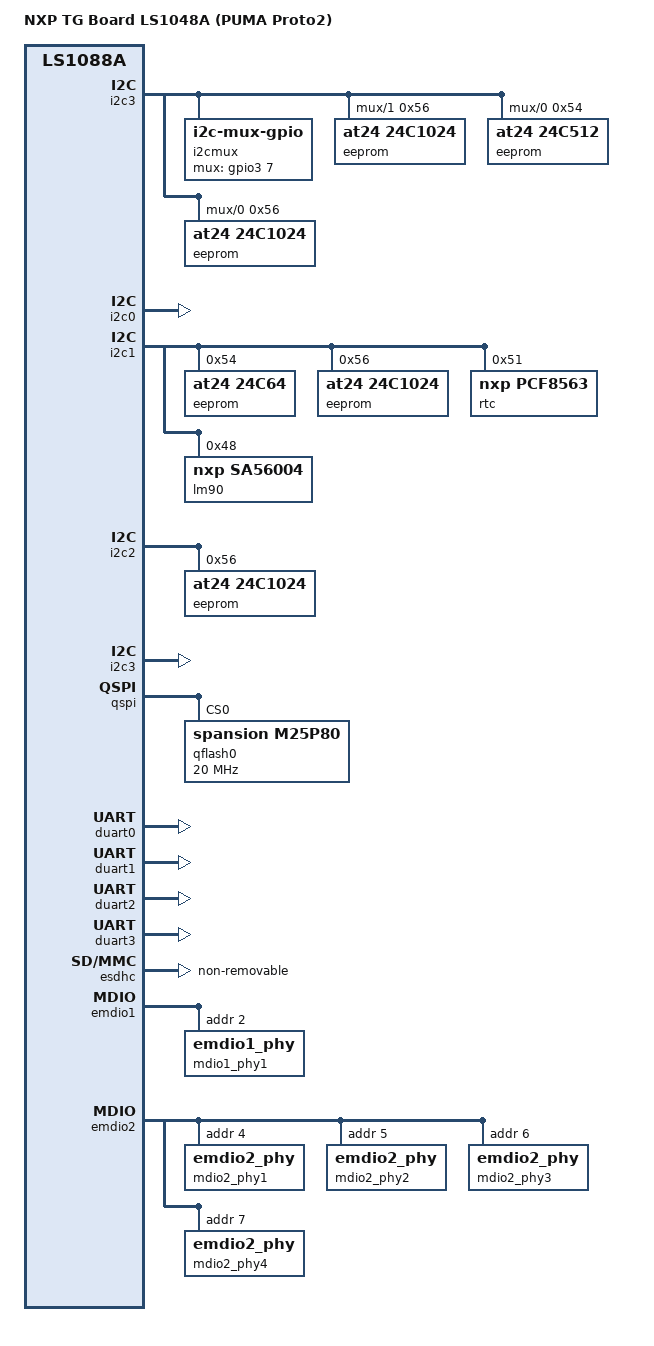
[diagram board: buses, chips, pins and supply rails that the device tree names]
/*
 * Device Tree file for FB LS1048A PUMA Proto 2 Board.
 */

/dts-v1/;

#include <dt-bindings/gpio/gpio.h>
#include "fsl-ls1048a.dtsi"

/ {
	model = "NXP TG Board LS1048A (PUMA Proto2)";
	compatible = "fsl,ls1088a-rdb", "fsl,ls1088a";

	chosen {
		bootargs = "iommu.passthrough=1 default_hugepagesz=2m hugepagesz=2m hugepages=512 pcie_aspm=off cma=512M crashkernel=32M@3G isolcpus=2,3 firmware_class.path=/data/firmware/wil6210 ";
		eeprom = "/sys/bus/nvmem/devices/1-00540/nvmem" ;
		bb1_eeprom = "/sys/bus/i2c/devices/1-0056/eeprom";
		bb2_eeprom = "/sys/bus/i2c/devices/2-0056/eeprom";
		bb3_eeprom = "/sys/bus/i2c/devices/4-0056/eeprom";
		bb4_eeprom = "/sys/bus/i2c/devices/5-0056/eeprom";
		wlan0_eeprom = "/sys/bus/i2c/devices/5-0056/eeprom";
		wlan1_eeprom = "/sys/bus/i2c/devices/2-0056/eeprom";
		wlan2_eeprom = "/sys/bus/i2c/devices/4-0056/eeprom";
		wlan3_eeprom = "/sys/bus/i2c/devices/1-0056/eeprom";
		wlan0_pci = "0000:01:00.0";
		wlan1_pci = "0001:01:00.0";
		wlan2_pci = "0002:03:00.0";
		wlan3_pci = "0002:04:00.0";
	};

	i2cmux {
		compatible = "i2c-mux-gpio";
		#address-cells = <1>;
		#size-cells = <0>;

		mux-gpios = <&gpio3 7 GPIO_ACTIVE_HIGH>;
		i2c-parent = <&i2c3>;

		i2c@1 {
			reg = <1>;
			#address-cells = <1>;
			#size-cells = <0>;

			eeprom@56 {
				compatible = "at24,24c1024";
				reg = <0x56>;
				pagesize = <256>;
			};
		};

		i2c@0 {
			reg = <0>;
			#address-cells = <1>;
			#size-cells = <0>;

			eeprom@54 {
				compatible = "at24,24c512";
				reg = <0x54>;
				pagesize = <128>;
			};

			eeprom@56 {
				compatible = "at24,24c1024";
				reg = <0x56>;
				pagesize = <256>;
			};
		};
	};
};

&i2c0 {
	status = "okay";
};

&i2c1 {
	status = "okay";

	eeprom@54 {
		compatible = "at24,24c64";
		reg = <0x54>;
		pagesize = <32>;
	};

	eeprom@56 {
		compatible = "at24,24c1024";
		reg = <0x56>;
		pagesize = <256>;
	};

	rtc@51 {
		compatible = "nxp,pcf8563";
		reg = <0x51>;
	};

	lm90: lm90@48 {
		compatible = "nxp,sa56004";
		reg = <0x48>;
	};

};

&i2c2 {
	status = "okay";

	eeprom@56 {
		compatible = "at24,24c1024";
		reg = <0x56>;
		pagesize = <256>;
	};
};

&i2c3 {
	status = "okay";
};

&qspi {
	status = "okay";
	qflash0: s25fs512s@0 {
		compatible = "spansion,m25p80";
		#address-cells = <1>;
		#size-cells = <1>;
		spi-max-frequency = <20000000>;
		spi-rx-bus-width = <1>;
		spi-tx-bus-width = <1>;
		reg = <0>;
	};
};

&ifc {
	status = "disabled";
};

&duart0 {
	status = "okay";
};

&duart1 {
	status = "okay";
};

&duart2 {
	status = "okay";
};

&duart3 {
	status = "okay";
};

&esdhc {
	status = "okay";
	non-removable;
};

&emdio1 {
	/* RealTek RTL8211FSI PHY
	 * PHY_AD[2:0] = 010: PHY Addr = 0b00010
	 * CFG_MODE[2:0]=011: SGMII <=> UTP
	 * CFG_LDO[1:0] = 10 : RGMII IO LDO voltage selection (1.8V)
	 * RXDLY = 0: No Delay
	 */
	mdio1_phy1: emdio1_phy@1 {
		reg = <0x2>;
		phy-connection-type = "sgmii";
	};
};

/* DPMAC connections to external PHYs
 * based on LS1088A RM RevC - $24.1.2 SerDes Options
 */
/* DPMAC2 is SFP+, fixed link */
&dpmac3 {
	phy-handle = <&mdio1_phy1>;
};

&emdio2 {
	/* Marvell 88E1545 PHY
	 */
	mdio2_phy1: emdio2_phy@1 {
		reg = <0x4>;
		phy-connection-type = "qsgmii";
	};
	mdio2_phy2: emdio2_phy@2 {
		reg = <0x5>;
		phy-connection-type = "qsgmii";
	};
	mdio2_phy3: emdio2_phy@3 {
		reg = <0x6>;
		phy-connection-type = "qsgmii";
	};
	mdio2_phy4: emdio2_phy@4 {
		reg = <0x7>;
		phy-connection-type = "qsgmii";
	};
};

&dpmac7 {
	phy-handle = <&mdio2_phy1>;
};
&dpmac8 {
	phy-handle = <&mdio2_phy2>;
};
&dpmac9 {
	phy-handle = <&mdio2_phy3>;
};
&dpmac10 {
	phy-handle = <&mdio2_phy4>;
};
